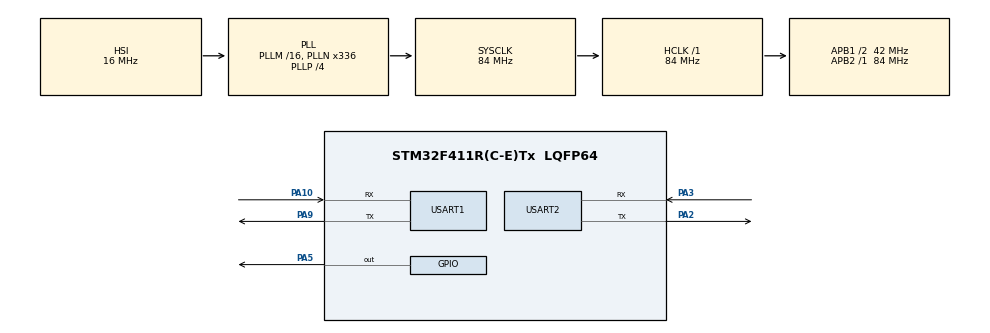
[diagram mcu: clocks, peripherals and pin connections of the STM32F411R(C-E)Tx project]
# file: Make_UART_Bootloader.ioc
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Mcu.Family=STM32F4
RCC.CortexFreq_Value=84000000
PA10.Mode=Asynchronous
PH1\ -\ OSC_OUT.Mode=HSE-External-Oscillator
RCC.APB1CLKDivider=RCC_HCLK_DIV2
NVIC.USART2_IRQn=true\:0\:0\:false\:false\:true\:true\:true
RCC.SYSCLKSource=RCC_SYSCLKSOURCE_PLLCLK
ProjectManager.StackSize=0x400
PA3.Mode=Asynchronous
PA9.Mode=Asynchronous
PH0\ -\ OSC_IN.Mode=HSE-External-Oscillator
PH0\ -\ OSC_IN.Signal=RCC_OSC_IN
ProjectManager.TargetToolchain=STM32CubeIDE
RCC.HCLKFreq_Value=84000000
RCC.APB2TimFreq_Value=84000000
PA9.Signal=USART1_TX
RCC.LSE_VALUE=32768
RCC.AHBFreq_Value=84000000
PA5.Signal=GPIO_Output
RCC.HSE_VALUE=25000000
PH1\ -\ OSC_OUT.Signal=RCC_OSC_OUT
board=custom
RCC.VCOOutputFreq_Value=336000000
RCC.APB2Freq_Value=84000000
Mcu.Name=STM32F411R(C-E)Tx
PA2.Signal=USART2_TX
RCC.48MHZClocksFreq_Value=84000000
RCC.SYSCLKFreq_VALUE=84000000
Mcu.Package=LQFP64
USART2.VirtualMode=VM_ASYNC
USART1.VirtualMode=VM_ASYNC
PA10.Signal=USART1_RX
ProjectManager.HeapSize=0x200
RCC.HSI_VALUE=16000000
RCC.PLLP=RCC_PLLP_DIV4
NVIC.PriorityGroup=NVIC_PRIORITYGROUP_4
RCC.PLLN=336
RCC.APB1TimFreq_Value=84000000
PA2.Mode=Asynchronous
NVIC.USART1_IRQn=true\:0\:0\:false\:false\:true\:true\:true
RCC.APB1Freq_Value=42000000
PA3.Signal=USART2_RX

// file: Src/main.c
/* USER CODE BEGIN Header */
/**
  ******************************************************************************
  * @file           : main.c
  * @brief          : Main program body
  ******************************************************************************
  * @attention
  *
  * <h2><center>&copy; Copyright (c) 2020 STMicroelectronics.
  * All rights reserved.</center></h2>
  *
  * This software component is licensed by ST under BSD 3-Clause license,
  * the "License"; You may not use this file except in compliance with the
  * License. You may obtain a copy of the License at:
  *                        opensource.org/licenses/BSD-3-Clause
  *
  ******************************************************************************
  */
/* USER CODE END Header */

#include "main.h"
#include "string.h"
#include <stdio.h>
#include "eeprom.h"

/* USER CODE BEGIN Includes */
#define BUFSIZE 10

/* USER CODE END Includes */

UART_HandleTypeDef huart1;
UART_HandleTypeDef huart2;

/* USER CODE BEGIN PV */
uint8_t rx_buff[BUFSIZE] = {0,};
uint16_t rx_buff_len;
uint8_t test_buff[20] = {0,};
uint16_t  Rx_data[2], Rx_Buffer[40], Transfer_cplt, Rx_Buffer2[40], Transfer_cplt2;
uint8_t Rx_data2[2];
int Rx_indx = 0, Rx_indx2 = 0;
int j = 3;
uint8_t rxBuffer[4], rxBuffer2[4];
uint8_t Header[10];
uint8_t i;
uint32_t Address = 0x0800C000;

uint16_t VirtAddVarTab[NB_OF_VAR] = {0x5555, 0x6666, 0x7777};
uint16_t VarDataTab[NB_OF_VAR] = {0, 0, 0};
uint16_t VarValue,VarDataTmp = 0;
/* USER CODE END PV */

void SystemClock_Config(void);
static void MX_GPIO_Init(void);
static void MX_USART1_UART_Init(void);
static void MX_USART2_UART_Init(void);
/* USER CODE BEGIN PFP */
#ifdef __GNUC__
 /* With GCC/RAISONANCE, small printf (option LD Linker->Libraries->Small printf
 set to 'Yes') calls __io_putchar() */
 #define PUTCHAR_PROTOTYPE int __io_putchar(int ch)
#else
 #define PUTCHAR_PROTOTYPE int fputc(int ch, FILE *f)
#endif /* __GNUC__ */

/**
 * @brief Retargets the C library printf function to the USART.
 * @param None
 * @retval None
 */
PUTCHAR_PROTOTYPE
{
 /* Place your implementation of fputc here */
 /* e.g. write a character to the USART */
 HAL_UART_Transmit(&huart1, (uint8_t *)&ch, 1, 100);

 return ch;
}

/* USER CODE END PFP */

/* USER CODE BEGIN 0 */

/*void HAL_UART_IDLE_Callback(UART_HandleTypeDef *huart)
{
	if(huart == &huart1)
	{
		__HAL_UART_DISABLE_IT(&huart1, UART_IT_IDLE);
		rx_buff_len = BUFSIZE - huart->RxXferCount;
		uint8_t res = HAL_UART_Transmit_IT(&huart1, (uint8_t*)rx_buff, rx_buff_len);
		if(res == HAL_ERROR) HAL_UART_Transmit(&huart2, (uint8_t*)"HAL_ERROR - rx_buff == NULL or rx_buff_len == 0\n", 48, 1000);
		else if(res == HAL_BUSY) HAL_UART_Transmit(&huart2, (uint8_t*)"HAL_BUSY\n", 9, 1000);
		HAL_UART_AbortReceive(&huart1);
		__HAL_UART_CLEAR_IDLEFLAG(&huart1);
		__HAL_UART_ENABLE_IT(&huart1, UART_IT_IDLE);
		HAL_UART_Receive_IT(&huart1, (uint8_t*)rx_buff, BUFSIZE);
	}
}

///////////////////////////////////  ///////////////////////////////////////
void HAL_UART_RxCpltCallback(UART_HandleTypeDef *huart)
{
	  if(huart == &huart1)
	  {
		  __HAL_UART_DISABLE_IT(&huart1, UART_IT_IDLE);
		  HAL_UART_Transmit_IT(&huart1, (uint8_t*)"Full buffer\n", 12);
		  HAL_UART_Transmit_IT(&huart2, (uint8_t*)"Full buffer\n", 12);
		  HAL_UART_AbortReceive(&huart1);
		  __HAL_UART_CLEAR_IDLEFLAG(&huart1);
		  __HAL_UART_ENABLE_IT(&huart1, UART_IT_IDLE);
		  HAL_UART_Receive_IT(&huart1, (uint8_t*)rx_buff, BUFSIZE);
	  }
}

void HAL_UART_ErrorCallback(UART_HandleTypeDef *huart)
{
	if(huart == &huart1)
	{
		__HAL_UART_DISABLE_IT(&huart1, UART_IT_IDLE);
		//HAL_GPIO_TogglePin(pc13_GPIO_Port, pc13_Pin);
		uint32_t er = HAL_UART_GetError(&huart1);
		HAL_UART_Abort_IT(&huart1);

		switch(er)
		{
			case HAL_UART_ERROR_PE:
				HAL_UART_Transmit(&huart1, (uint8_t*)"ERR_Callbck - Parity error\n", 27, 1000);
				HAL_UART_Transmit(&huart2, (uint8_t*)"ERR_Callbck - Parity error\n", 27, 1000);
				__HAL_UART_CLEAR_PEFLAG(&huart1);
				huart->ErrorCode = HAL_UART_ERROR_NONE;
			break;

			case HAL_UART_ERROR_NE:
				HAL_UART_Transmit(&huart2, (uint8_t*)"ERR_Callbck - Noise error\n", 26, 1000);

				__HAL_UART_CLEAR_NEFLAG(&huart1);
				huart->ErrorCode = HAL_UART_ERROR_NONE;
			break;

			case HAL_UART_ERROR_FE:
				HAL_UART_Transmit(&huart2, (uint8_t*)"ERR_Callbck - Frame error\n", 26, 1000);
				__HAL_UART_CLEAR_FEFLAG(&huart1);
				huart->ErrorCode = HAL_UART_ERROR_NONE;
			break;

			case HAL_UART_ERROR_ORE:
				HAL_UART_Transmit(&huart2, (uint8_t*)"ERR_Callbck - Overrun error\n", 28, 1000);
				__HAL_UART_CLEAR_OREFLAG(huart);
				huart->ErrorCode = HAL_UART_ERROR_NONE;
			break;

			case HAL_UART_ERROR_DMA:
				HAL_UART_Transmit(&huart2, (uint8_t*)"ERR_Callbck - DMA transfer error\n", 33, 1000);
				huart->ErrorCode = HAL_UART_ERROR_NONE;
			break;

			default:
			break;
		}
	}

}**/

/* USER CODE END 0 */

int main(void)
{

  /* MCU Configuration--------------------------------------------------------*/

  /* Reset of all peripherals, Initializes the Flash interface and the Systick. */
  HAL_Init();

  /* Configure the system clock */
  SystemClock_Config();

  /* Initialize all configured peripherals */
  MX_GPIO_Init();
  MX_USART1_UART_Init();
  MX_USART2_UART_Init();

  /* USER CODE BEGIN 2 */
  HAL_UART_Receive_IT(&huart1, Rx_data, 2);
  EE_Init();
  HAL_FLASH_Unlock();
  //HAL_UART_Receive_IT(&huart1, Rx_data2, 1);
  //__HAL_UART_ENABLE_IT(&huart1, UART_IT_IDLE);
   // HAL_UART_Receive_IT(&huart1, (uint8_t*)rx_buff, BUFSIZE);

  /* USER CODE END 2 */

  /* Infinite loop */
  while (1)
  {
	  HAL_GPIO_TogglePin(GPIOA,GPIO_PIN_5);
	  //printf("Hello World\r\n");
	  //printf("%s", Rx_Buffer);
	  //sprintf(test_buff,"gia tri rx %s\r\n",rx_buff);
	  //HAL_UART_Transmit(&huart1, (uint8_t*)"Lee", 5, 1000);
	 if(Rx_Buffer[0] != 0x5200)
	 HAL_UART_Transmit(&huart1, (uint8_t*)Rx_Buffer, sizeof(Rx_Buffer), 1000);
	 //HAL_UART_Transmit(&huart1, (uint8_t*)j, 2, 1000);
	  //printf("alo %d", j);
	 // HAL_UART_Transmit(&huart1, (uint8_t*)Rx_Buffer2, sizeof(Rx_Buffer2), 1000);
	  HAL_Delay(1000);

  }
}

void HAL_UART_RxCpltCallback(UART_HandleTypeDef *huart)
{
    uint8_t i;
   // printf("dang nhan \r\n");
    if (huart->Instance == USART1)  //Xét UART nhận dữ liệu
        {
        if (Rx_indx==0) {
        	for (i=0;i<100;i++) Rx_Buffer[i]=0;
        }   //clear Rx_buffer trước khi nhận dữ liệu mới
      // else if (sizeof(Rx_Buffer > 40)){
        	//for (i=0;i<100;i++) Rx_Buffer[i]=0;
        //}

        /*HAL_UART_Receive(&huart1,Header,9,0xFFFF);
        if (Header[0] == 'R'){
        	if(Header[1]=='0'){
				 HAL_UART_Transmit(&huart1, (uint8_t*)"Oke\r\n", 10, 1000);
				 Rx_indx=0;
			}
			else{
				HAL_UART_Transmit(&huart1, (uint8_t*)"Fail\r\n", 10, 1000);
				Rx_indx=0;
			}
        }*/
        if ((uint8_t*)(Rx_data[0] >> 8) == 0x52 ||Rx_data[0] == 0x52) {
        	HAL_UART_Receive(&huart1,Header,7,0xFFFF);
        	if(Header[0]=='0'){
				 HAL_UART_Transmit(&huart1, (uint8_t*)"Oke\r\n", 5, 1000);
				 Rx_indx=0;
			}
			else{
				HAL_UART_Transmit(&huart1, (uint8_t*)"Fail\r\n", 6, 1000);
				Rx_indx=0;
				}

        }
        //if (Rx_data[0]!='\n' && Rx_data[0]!= 'R' &&  Rx_data[0]!= '\r' ) //Nếu nhận dữ liệu là khác dấu xuống dòng
            if((uint8_t*)(Rx_data[0] >> 8) != 0x0d && (uint8_t*)(Rx_data[0] >> 8) != 0x0a && (uint8_t*)(Rx_data[0] >> 8) != 0x52 && (uint8_t*)Rx_data[0] != 0x0d && (uint8_t*)Rx_data[0] != 0x0a&& (uint8_t*)Rx_data[0] != 0x52)
        {

            Rx_Buffer[Rx_indx++]=Rx_data[0];  //thêm dữ liệu vào Rx_Buffer
            uint16_t test_rx[2];
            test_rx[0] = Rx_data[0];
            //test_rx[1] = Rx_data[1];
            Address = Address + 2;
            HAL_FLASH_Program(FLASH_TYPEPROGRAM_HALFWORD,Address, Rx_data[0] );
            HAL_UART_Transmit(&huart1,(uint8_t*)&test_rx, 1,0xFFFF);
            }
        /*else if (Rx_data[0] == 'R'){
        	HAL_UART_Receive(&huart1,Rx_data2,1,100);
        	if(Rx_data2[0]=='0'){
        		 HAL_UART_Transmit(&huart1, (uint8_t*)"Oke\r\n", 10, 1000);
        		 Rx_indx=0;
        	}
        	else{
        		HAL_UART_Transmit(&huart1, (uint8_t*)"Fail\r\n", 10, 1000);
        		Rx_indx=0;
        	}
        }*/
        else            //nếu là dấu xuống dòng \n thì hoàn thành việc đọc 1 khung truyền
            {
            Rx_indx=0;
            Transfer_cplt=1;//Cờ báo hiệu đã chuyển dữ liệu xong và tiến hành đọc dữ liệu
            }
        //HAL_UART_Transmit(&huart1, (uint8_t*)Rx_data, sizeof(Rx_data), 5000);
        //HAL_UART_Receive_IT(&huart1, Rx_data2, 1);
        HAL_UART_Receive_IT(&huart1, Rx_data, 2);   //Kích hoạt ngắt UART mỗi data nhận được
        }

}

void SystemClock_Config(void)
{
  RCC_OscInitTypeDef RCC_OscInitStruct = {0};
  RCC_ClkInitTypeDef RCC_ClkInitStruct = {0};

  /** Configure the main internal regulator output voltage
  */
  __HAL_RCC_PWR_CLK_ENABLE();
  __HAL_PWR_VOLTAGESCALING_CONFIG(PWR_REGULATOR_VOLTAGE_SCALE1);
  /** Initializes the CPU, AHB and APB busses clocks
  */
  RCC_OscInitStruct.OscillatorType = RCC_OSCILLATORTYPE_HSI;
  RCC_OscInitStruct.HSIState = RCC_HSI_ON;
  RCC_OscInitStruct.HSICalibrationValue = RCC_HSICALIBRATION_DEFAULT;
  RCC_OscInitStruct.PLL.PLLState = RCC_PLL_ON;
  RCC_OscInitStruct.PLL.PLLSource = RCC_PLLSOURCE_HSI;
  RCC_OscInitStruct.PLL.PLLM = 16;
  RCC_OscInitStruct.PLL.PLLN = 336;
  RCC_OscInitStruct.PLL.PLLP = RCC_PLLP_DIV4;
  RCC_OscInitStruct.PLL.PLLQ = 4;
  if (HAL_RCC_OscConfig(&RCC_OscInitStruct) != HAL_OK)
  {
    Error_Handler();
  }
  /** Initializes the CPU, AHB and APB busses clocks
  */
  RCC_ClkInitStruct.ClockType = RCC_CLOCKTYPE_HCLK|RCC_CLOCKTYPE_SYSCLK
                              |RCC_CLOCKTYPE_PCLK1|RCC_CLOCKTYPE_PCLK2;
  RCC_ClkInitStruct.SYSCLKSource = RCC_SYSCLKSOURCE_PLLCLK;
  RCC_ClkInitStruct.AHBCLKDivider = RCC_SYSCLK_DIV1;
  RCC_ClkInitStruct.APB1CLKDivider = RCC_HCLK_DIV2;
  RCC_ClkInitStruct.APB2CLKDivider = RCC_HCLK_DIV1;

  if (HAL_RCC_ClockConfig(&RCC_ClkInitStruct, FLASH_LATENCY_2) != HAL_OK)
  {
    Error_Handler();
  }
}

static void MX_USART1_UART_Init(void)
{

  huart1.Instance = USART1;
  huart1.Init.BaudRate = 115200;
  huart1.Init.WordLength = UART_WORDLENGTH_8B;
  huart1.Init.StopBits = UART_STOPBITS_1;
  huart1.Init.Parity = UART_PARITY_NONE;
  huart1.Init.Mode = UART_MODE_TX_RX;
  huart1.Init.HwFlowCtl = UART_HWCONTROL_NONE;
  huart1.Init.OverSampling = UART_OVERSAMPLING_16;
  if (HAL_UART_Init(&huart1) != HAL_OK)
  {
    Error_Handler();
  }

}

static void MX_USART2_UART_Init(void)
{

  huart2.Instance = USART2;
  huart2.Init.BaudRate = 115200;
  huart2.Init.WordLength = UART_WORDLENGTH_8B;
  huart2.Init.StopBits = UART_STOPBITS_1;
  huart2.Init.Parity = UART_PARITY_NONE;
  huart2.Init.Mode = UART_MODE_TX_RX;
  huart2.Init.HwFlowCtl = UART_HWCONTROL_NONE;
  huart2.Init.OverSampling = UART_OVERSAMPLING_16;
  if (HAL_UART_Init(&huart2) != HAL_OK)
  {
    Error_Handler();
  }

}

static void MX_GPIO_Init(void)
{
  GPIO_InitTypeDef GPIO_InitStruct = {0};

  /* GPIO Ports Clock Enable */
  __HAL_RCC_GPIOH_CLK_ENABLE();
  __HAL_RCC_GPIOA_CLK_ENABLE();

  /*Configure GPIO pin Output Level */
  HAL_GPIO_WritePin(GPIOA, GPIO_PIN_5, GPIO_PIN_RESET);

  /*Configure GPIO pin : PA5 */
  GPIO_InitStruct.Pin = GPIO_PIN_5;
  GPIO_InitStruct.Mode = GPIO_MODE_OUTPUT_PP;
  GPIO_InitStruct.Pull = GPIO_NOPULL;
  GPIO_InitStruct.Speed = GPIO_SPEED_FREQ_LOW;
  HAL_GPIO_Init(GPIOA, &GPIO_InitStruct);

}

void Error_Handler(void)
{
}

/************************ (C) COPYRIGHT STMicroelectronics *****END OF FILE****/
